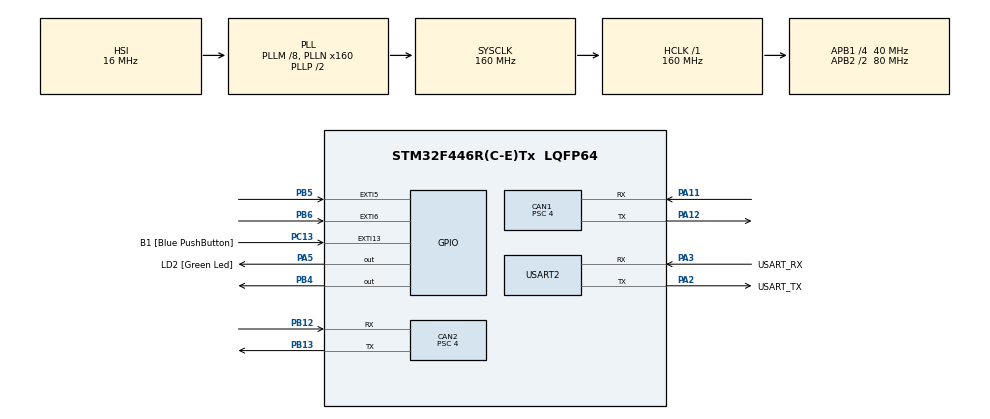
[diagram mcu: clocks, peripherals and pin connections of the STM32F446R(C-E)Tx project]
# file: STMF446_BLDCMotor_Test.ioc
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CAN1.BS1=CAN_BS1_7TQ
CAN1.BS2=CAN_BS2_2TQ
CAN1.CalculateBaudRate=1000000
CAN1.CalculateTimeBit=1000
CAN1.CalculateTimeQuantum=100.0
CAN1.Prescaler=4
CAN1.SJW=CAN_SJW_2TQ
CAN2.BS1=CAN_BS1_7TQ
CAN2.BS2=CAN_BS2_2TQ
CAN2.CalculateBaudRate=1000000
CAN2.CalculateTimeBit=1000
CAN2.CalculateTimeQuantum=100.0
CAN2.Prescaler=4
CAN2.SJW=CAN_SJW_2TQ
Mcu.Family=STM32F4
Mcu.Name=STM32F446R(C-E)Tx
Mcu.Package=LQFP64
NVIC.CAN1_RX0_IRQn=true\:0\:0\:false\:false\:true\:true\:true\:true
NVIC.CAN1_TX_IRQn=true\:0\:0\:false\:false\:true\:true\:true\:true
NVIC.CAN2_RX0_IRQn=true\:0\:0\:false\:false\:true\:true\:true\:true
NVIC.CAN2_TX_IRQn=true\:0\:0\:false\:false\:true\:true\:true\:true
NVIC.EXTI9_5_IRQn=true\:0\:0\:false\:false\:true\:true\:true\:true
NVIC.PriorityGroup=NVIC_PRIORITYGROUP_4
NVIC.USART2_IRQn=true\:0\:0\:true\:false\:true\:true\:true\:true
PA11.Mode=CAN_Activate
PA11.Signal=CAN1_RX
PA12.GPIO_PuPd=GPIO_PULLUP
PA12.Mode=CAN_Activate
PA12.Signal=CAN1_TX
PA13.GPIO_Label=TMS
PA13.Mode=Serial_Wire
PA13.Signal=SYS_JTMS-SWDIO
PA14.GPIO_Label=TCK
PA14.Mode=Serial_Wire
PA14.Signal=SYS_JTCK-SWCLK
PA2.GPIO_Label=USART_TX
PA2.Mode=Asynchronous
PA2.Signal=USART2_TX
PA3.GPIO_Label=USART_RX
PA3.Mode=Asynchronous
PA3.Signal=USART2_RX
PA5.GPIO_Label=LD2 [Green Led]
PA5.PinState=GPIO_PIN_RESET
PA5.Signal=GPIO_Output
PB12.Mode=CAN_Activate
PB12.Signal=CAN2_RX
PB13.GPIO_PuPd=GPIO_PULLUP
PB13.Mode=CAN_Activate
PB13.Signal=CAN2_TX
PB3.GPIO_Label=SWO
PB3.Signal=SYS_JTDO-SWO
PB4.Signal=GPIO_Output
PB5.GPIO_ModeDefaultEXTI=GPIO_MODE_IT_RISING_FALLING
PB5.Signal=GPXTI5
PB6.GPIO_ModeDefaultEXTI=GPIO_MODE_IT_RISING_FALLING
PB6.Signal=GPXTI6
PC13.GPIO_Label=B1 [Blue PushButton]
PC13.GPIO_ModeDefaultEXTI=GPIO_MODE_IT_FALLING
PC13.Signal=GPXTI13
PC14-OSC32_IN.Mode=LSE-External-Oscillator
PC14-OSC32_IN.Signal=RCC_OSC32_IN
PC15-OSC32_OUT.Mode=LSE-External-Oscillator
PC15-OSC32_OUT.Signal=RCC_OSC32_OUT
PH0-OSC_IN.Mode=HSE-External-Oscillator
PH0-OSC_IN.Signal=RCC_OSC_IN
PH1-OSC_OUT.Mode=HSE-External-Oscillator
PH1-OSC_OUT.Signal=RCC_OSC_OUT
ProjectManager.HeapSize=0x200
ProjectManager.StackSize=0x400
ProjectManager.TargetToolchain=STM32CubeIDE
RCC.48MHZClocksFreq_Value=84000000
RCC.AHBFreq_Value=160000000
RCC.APB1CLKDivider=RCC_HCLK_DIV4
RCC.APB1Freq_Value=40000000
RCC.APB1TimFreq_Value=80000000
RCC.APB2CLKDivider=RCC_HCLK_DIV2
RCC.APB2Freq_Value=80000000
RCC.APB2TimFreq_Value=160000000
RCC.CortexFreq_Value=160000000
RCC.FLatency-AdvancedSettings=FLASH_LATENCY_5
RCC.HCLKFreq_Value=160000000
RCC.HSE_VALUE=8000000
RCC.HSI_VALUE=16000000
RCC.PLLM=8
RCC.PLLN=160
RCC.SYSCLKFreq_VALUE=160000000
RCC.SYSCLKSource=RCC_SYSCLKSOURCE_PLLCLK
RCC.USBFreq_Value=160000000
RCC.VCOOutputFreq_Value=320000000
USART2.VirtualMode=VM_ASYNC
board=NUCLEO-F446RE

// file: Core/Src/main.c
/* USER CODE BEGIN Header */
/**
  ******************************************************************************
  * @file           : main.c
  * @brief          : Main program body
  ******************************************************************************
  * @attention
  *
  * Copyright (c) 2022 STMicroelectronics.
  * All rights reserved.
  *
  * This software is licensed under terms that can be found in the LICENSE file
  * in the root directory of this software component.
  * If no LICENSE file comes with this software, it is provided AS-IS.
  *
  ******************************************************************************
  */
/* USER CODE END Header */
#include "main.h"

/* USER CODE BEGIN Includes */
#include<stdio.h>
#include <math.h>
#include "math_ops.h"
#include "leg_message.h"
/* USER CODE END Includes */

 CAN_HandleTypeDef hcan1;
CAN_HandleTypeDef hcan2;

UART_HandleTypeDef huart2;

/* USER CODE BEGIN PV */
CAN_FilterTypeDef sFilterConfig;
CAN_TxHeaderTypeDef TxHeader;
CAN_RxHeaderTypeDef RxHeader;
uint8_t TxData[20];
uint8_t RxData[20];
uint8_t data[20];
uint32_t TxMailbox;
uint32_t canid;
uint8_t cmd_data = 0x00;
uint8_t home_position_state =0;
uint8_t get_uart_flag = 0;
uint8_t get_can_flag = 0; //canを受信したかどうかのflag
uint8_t nextcan_flag = 0;
uint8_t selectmode_flag = 0;
int BLDCm1_dir=1;
int BLDCm2_dir=-1;
int Writecom=0x00;
int Readcom=0x00;
char RMD_cmd;
float p_getdata=0.0;
float p_getdata_s1=0.0;
float p_getdata_s2=0.0;
float t_position[2];
uint16_t p_getintdata=0;
float l1=250.0;
float l2=350.0;

/* USER CODE END PV */

void SystemClock_Config(void);
static void MX_GPIO_Init(void);
static void MX_USART2_UART_Init(void);
static void MX_CAN2_Init(void);
static void MX_CAN1_Init(void);
/* USER CODE BEGIN PFP */
/// Value Limits ///
 #define P_MIN -12.5f
 #define P_MAX 12.5f
 #define V_MIN -65.0f
 #define V_MAX 65.0f
 #define KP_MIN 0.0f
 #define KP_MAX 500.0f
 #define KD_MIN 0.0f
 #define KD_MAX 5.0f
 #define T_MIN -18.0f
 #define T_MAX 18.0f

 /// Joint Soft Stops ///
 #define A_LIM_P 1.5f
 #define A_LIM_N -1.5f
 #define H_LIM_P 5.0f
 #define H_LIM_N -5.0f
 #define K_LIM_P 0.2f
 #define K_LIM_N 7.7f
 #define KP_SOFTSTOP 100.0f
 #define KD_SOFTSTOP 0.4f;

#define ENABLE_CMD 0xFFFF
#define DISABLE_CMD 0x1F1F
/* USER CODE END PFP */

/* USER CODE BEGIN 0 */
uint8_t uart_data;
char tx_data[]="get_data\r\n";
int flag = 1;
uint8_t buffersize=20;

typedef struct {
	uint16_t rxMsg;
	uint16_t txMsg;
}CANMessage;

void HAL_GPIO_EXTI_Callback(uint16_t GPIO_Pin)
{
	//stepper 0 end stop senssor
	if(GPIO_Pin == GPIO_PIN_6 ){
		if(!HAL_GPIO_ReadPin(GPIOB, GPIO_PIN_6)){	//end stop ONの時フラグを立てる
			home_position_state |= 1;
		}
		if(HAL_GPIO_ReadPin(GPIOB, GPIO_PIN_6)){
			home_position_state &= ~1;
		}
	}
}

void BLDC_FK(float s1,float s2,float* xp,float* yp);
void BLDC_IK(float x,float y,float* s1p,float* s2p);
void Zero(){
	data[0] = 0xFF;
    data[1] = 0xFF;
    data[2] = 0xFF;
    data[3] = 0xFF;
    data[4] = 0xFF;
    data[5] = 0xFF;
    data[6] = 0xFF;
    data[7] = 0xFE;
    //WriteAll();
    }

void EnterMotorMode(){
	data[0] = 0xFF;
    data[1] = 0xFF;
    data[2] = 0xFF;
    data[3] = 0xFF;
    data[4] = 0xFF;
    data[5] = 0xFF;
    data[6] = 0xFF;
    data[7] = 0xFC;
    //WriteAll();
    }

void ExitMotorMode(){
	data[0] = 0xFF;
	data[1] = 0xFF;
	data[2] = 0xFF;
	data[3] = 0xFF;
	data[4] = 0xFF;
	data[5] = 0xFF;
	data[6] = 0xFF;
	data[7] = 0xFD;
    //WriteAll();
    }

void pack_cmd(float _p_des, float _v_des, float _kp, float _kd, float _t_ff){
	/// limit data to be within bounds ///
	float p_des = fminf(fmaxf(P_MIN, _p_des), P_MAX);
	float v_des = fminf(fmaxf(V_MIN, _v_des), V_MAX);
	float kp = fminf(fmaxf(KP_MIN, _kp), KP_MAX);
	float kd = fminf(fmaxf(KD_MIN, _kd), KD_MAX);
	float t_ff = fminf(fmaxf(T_MIN, _t_ff), T_MAX);
	/// convert floats to unsigned ints ///
	uint16_t p_int = float_to_uint(p_des, P_MIN, P_MAX, 16);
	uint16_t v_int = float_to_uint(v_des, V_MIN, V_MAX, 12);
	uint16_t kp_int = float_to_uint(kp, KP_MIN, KP_MAX, 12);
	uint16_t kd_int = float_to_uint(kd, KD_MIN, KD_MAX, 12);
	uint16_t t_int = float_to_uint(t_ff, T_MIN, T_MAX, 12);
	/// pack ints into the can buffer ///
	data[0] = p_int>>8;
	data[1] = p_int&0xFF;
	data[2] = v_int>>4;
	data[3] = ((v_int&0xF)<<4)|(kp_int>>8);
	data[4] = kp_int&0xFF;
	data[5] = kd_int>>4;
	data[6] = ((kd_int&0xF)<<4)|(t_int>>8);
	data[7] = t_int&0xFF;
}
void BLDC_CANTx(){
	TxHeader.StdId=canid;
	TxHeader.IDE = CAN_ID_STD;
	TxHeader.DLC = 0x08;
	TxHeader.RTR = CAN_RTR_DATA;
	TxHeader.TransmitGlobalTime = DISABLE;
//	HAL_CAN_AddTxMessage(&hcan1,&TxHeader,data,&TxMailbox);
//	HAL_Delay(10);

//	int i = 0;
	int count=0;
	if(0 < HAL_CAN_GetTxMailboxesFreeLevel(&hcan1) ){
		HAL_CAN_AddTxMessage(&hcan1,&TxHeader,data,&TxMailbox);
		HAL_Delay(10);
		while(!nextcan_flag){
			HAL_CAN_AddTxMessage(&hcan1,&TxHeader,data,&TxMailbox);
			HAL_Delay(10);
			count++;
			if(count==10){
				nextcan_flag=1;
				get_can_flag=1;
				HAL_CAN_Stop (&hcan1);
				//HAL_CAN_AbortTxRequest(&hcan1,TxMailbox);
				HAL_CAN_Start(&hcan1);
			}
		}
		nextcan_flag=0;
		count=0;
	}else{
		nextcan_flag=0;
		get_can_flag=1;
	}
}

void unpack_reply(){
    /// unpack ints from can buffer ///
    uint16_t id = data[0];
    uint16_t p_int = (data[1]<<8)|data[2];
    uint16_t v_int = (data[3]<<4)|(data[4]>>4);
    uint16_t i_int = ((data[4]&0xF)<<8)|data[5];

    p_getintdata=p_int;
    /// convert uints to floats ///
    float p = uint_to_float(p_int, P_MIN, P_MAX, 16);
    float v = uint_to_float(v_int, V_MIN, V_MAX, 12);
    float t = uint_to_float(i_int, -T_MAX, T_MAX, 12);
    p_getdata=p;

    if(id==0x01){
        p_getdata_s1=(-p_getdata);
    }else if(id==0x02)
    {
        p_getdata_s2=(-(p_getdata+M_PI));
    }
}

void sent_position(){
	float current_coordinate[2];
	int16_t x1;
	int16_t y1;
	int16_t x2;
	int16_t y2;
	BLDC_FK(p_getdata_s1,p_getdata_s2,&current_coordinate[0],&current_coordinate[1]);

	x1=round(l1*cos(p_getdata_s1));
	y1=round(l1*sin(p_getdata_s1));
	x2=round(current_coordinate[0]);	//手先座標系から機械座標系への変換
	y2=round(current_coordinate[1]);
	TxData[0]=0xAA;
	TxData[1]=x1&0xFF;
	TxData[2]=(x1>>8)&0xFF;
	TxData[3]=y1&0xFF;
	TxData[4]=(y1>>8)&0xFF;
	TxData[5]=x2&0xFF;
	TxData[6]=(x2>>8)&0xFF;
	TxData[7]=y2&0xFF;
	TxData[8]=(y2>>8)&0xFF;
	TxData[19]=0xAA;
	HAL_UART_Transmit(&huart2,TxData,sizeof(TxData),100);
}

void BLDC_MotorRotate(){
	float count_rad=0.05;
	float set_Kp=40.0;
	float setMax_kp=200.0;
	uint8_t count_end=0;
	uint32_t canid_select_far;
	uint32_t canid_select_near;
	float far_dis_dir=0;
	float near_dis_dir=0;
	float running_pos[2];
	float far_dis;
	float near_dis;
	float i=0.0;
	float m1_startpos;
	float m2_startpos;
	float m1_target_pos;
	float m2_target_pos;
	float far_getpos;
	float near_getpos;
	canid=0x01;
	pack_cmd(0.0, 0.0, 0.0, 3.0, 0.0);	//現在の場所の所得
	BLDC_CANTx();
	unpack_reply();
	m1_startpos=p_getdata;
	m1_target_pos=-t_position[0];
	running_pos[0]=fabsf(m1_target_pos-m1_startpos);	//目標地点ー現在の地点＝移動距離
	canid=0x02;
	pack_cmd(0.0, 0.0, 0.0, 4.0, 0.0);	//現在の場所の所得
	BLDC_CANTx();
	unpack_reply();
	m2_target_pos=(-t_position[1]+M_PI);
	m2_startpos=p_getdata;
	running_pos[1]=fabsf(m2_target_pos-m2_startpos);

	if(running_pos[0]>running_pos[1]){
		far_dis=running_pos[0];
		near_dis=running_pos[1];
		canid_select_far=0x01;
		canid_select_near=0x02;
		far_getpos=m1_startpos;
		near_getpos=m2_startpos;
		far_dis_dir=((m1_target_pos-m1_startpos)>=0)?1:-1;
		near_dis_dir=((m2_target_pos-(m2_startpos))>=0)?1:-1;

	}else{
		far_dis=running_pos[1];
		near_dis=running_pos[0];
		canid_select_far=0x02;
		canid_select_near=0x01;
		far_getpos=m2_startpos;
		near_getpos=m1_startpos;
		far_dis_dir=((m2_target_pos-m2_startpos)>=0)?1:-1;
		near_dis_dir=((m1_target_pos-m1_startpos)>=0)?1:-1;
	}

	if (far_dis>count_rad){
		while(!count_end){
			i+=(far_dis_dir*count_rad);
			if(fabsf(i)<far_dis){
				canid=canid_select_far;
				pack_cmd(far_getpos+i, 0.0, set_Kp, 2.0, 0.0);	//現在の場所の所得
				BLDC_CANTx();
				unpack_reply();
				HAL_Delay(20);
				canid=canid_select_near;
				pack_cmd(near_getpos+fabsf(i)*(near_dis/far_dis)*near_dis_dir, 0.0, set_Kp, 2.0, 0.0);	//現在の場所の所得
				BLDC_CANTx();
				unpack_reply();
				sent_position();
				HAL_Delay(20);
			}
			else{
				count_end=1;
			}
		}
	}
	for(int i=1;i<=50;i++){
		if(set_Kp+i*10<=setMax_kp){
			canid=0x01;
			pack_cmd(m1_target_pos, 0.0, set_Kp+i*10, 3.0, 0.0);	//現在の場所の所得
			BLDC_CANTx();
			unpack_reply();
			HAL_Delay(20);
			canid=0x02;
			pack_cmd(m2_target_pos, 0.0, set_Kp+i*10, 3.0, 0.0);	//現在の場所の所得
			BLDC_CANTx();
			unpack_reply();
			HAL_Delay(20);
		}else{
			i=50;
		}
	}
	sent_position();

}
void BLDC_M1Rotate(){
	float m1_startpos;
	float m1_target_pos;
	float i=0.0;
	float m1_dis;
	float set_Kp=40.0;
	float setMax_kp=200.0;
	float count_rad=0.05;
	int m1_dir;
	int count=10;
	uint8_t count_end=0;
	canid=0x02;
	pack_cmd(0.0, 0.0, 0.0, 4.0, 0.0);	//現在の場所の所得
	BLDC_CANTx();
	unpack_reply();
	pack_cmd(p_getdata, 0.0, 200.0, 4.0, 0.0);	//現在の場所の所得
	BLDC_CANTx();
	unpack_reply();
	canid=0x01;
	pack_cmd(0.0, 0.0, 0.0, 4.0, 0.0);	//現在の場所の所得
	BLDC_CANTx();
	unpack_reply();

	m1_startpos=p_getdata;
	m1_target_pos=-t_position[0];
	m1_dis=fabsf(m1_target_pos-m1_startpos);	//目標地点ー現在の地点＝移動距離
	m1_dir=((m1_target_pos-m1_startpos)>=0)?1:-1;
	i=count_rad;
	if(count_rad<m1_dis){
		while(!count_end){
			i+=(m1_dir*count_rad);
			if(fabsf(i)<m1_dis){
				canid=0x01;
				pack_cmd(m1_startpos+i, 0.0, set_Kp, 2.0, 0.0);	//現在の場所の所得
				BLDC_CANTx();
				sent_position();
				HAL_Delay(40);
			}else{
				count_end=1;
			}
		}
	}
	for(int i=1;i<=50;i++){
			if(set_Kp+i*10<=setMax_kp){
				canid=0x01;
				pack_cmd(m1_target_pos, 0.0, set_Kp+i*10, 3.0, 0.0);	//現在の場所の所得
				BLDC_CANTx();
				HAL_Delay(20);
			}else{
				i=50;
			}
		}
	sent_position();
}
void BLDC_M2Rotate(){
	float m2_startpos;
	float m2_target_pos;
	float i=0.0;
	float m2_dis;
	float set_Kp=40.0;
	float setMax_kp=200.0;
	float count_rad=0.05;
	int m2_dir;
	uint8_t count_end=0;
	canid=0x01;
	pack_cmd(0.0, 0.0, 0.0, 4.0, 0.0);	//現在の場所の所得
	BLDC_CANTx();
	unpack_reply();
	pack_cmd(p_getdata, 0.0, 200.0, 4.0, 0.0);	//現在の場所の所得
	BLDC_CANTx();
	unpack_reply();
	canid=0x02;
	pack_cmd(0.0, 0.0, 0.0, 4.0, 0.0);	//現在の場所の所得
	BLDC_CANTx();
	unpack_reply();
	m2_startpos=p_getdata;
	m2_target_pos=(-t_position[1]+M_PI);
	m2_dis=fabsf((m2_target_pos-m2_startpos));
	m2_dir=((m2_target_pos-m2_startpos)>=0)?1:-1;

	i=count_rad;
	if(count_rad<m2_dis){
		while(!count_end){
			i+=(m2_dir*count_rad);
			if(fabsf(i)<m2_dis){
				canid=0x02;
				pack_cmd(m2_startpos+i, 0.0, set_Kp, 2.0, 0.0);	//現在の場所の所得
				BLDC_CANTx();
				p_getdata_s2=p_getdata;
				sent_position();
				HAL_Delay(40);
			}else{
				count_end=1;
			}
		}
	}

	for(int i=1;i<=50;i++){
			if(set_Kp+i*10<=setMax_kp){
				canid=0x02;
				pack_cmd(m2_target_pos, 0.0, set_Kp+i*10, 3.0, 0.0);	//現在の場所の所得
				BLDC_CANTx();
				HAL_Delay(20);
			}else{
				i=50;
			}
		}
	sent_position();
	count_end=0;
}

void command_judgment(uint8_t *ModeSelect){
	int modeflag_count=0;
	for(uint8_t i=0; i<buffersize ;i++){
		ModeSelect[i]= ~(ModeSelect[i]);
		if(ModeSelect[i]==0){
			modeflag_count++;
			}
		}
	if(modeflag_count<(buffersize-3)){	//動作モード
		selectmode_flag=0;
	}
	else if(modeflag_count==(buffersize-3)){	//コマンドモード,9byte ModeSelectが0だったら
		selectmode_flag=1;
	}
}

/* USER CODE END 0 */

int main(void)
{

  /* MCU Configuration--------------------------------------------------------*/

  /* Reset of all peripherals, Initializes the Flash interface and the Systick. */
  HAL_Init();

  /* Configure the system clock */
  SystemClock_Config();

  /* Initialize all configured peripherals */
  MX_GPIO_Init();
  MX_USART2_UART_Init();
  MX_CAN2_Init();
  MX_CAN1_Init();
  /* USER CODE BEGIN 2 */
  uint32_t Init_flag=0;
  if(HAL_GPIO_ReadPin(GPIOB, GPIO_PIN_5)!=1){	//リミットスイッチON→待機状態
	  home_position_state=1;
  }else{
	  home_position_state=0;
  }
sFilterConfig.FilterBank = 0;
sFilterConfig.FilterMode = CAN_FILTERMODE_IDMASK;
sFilterConfig.FilterScale = CAN_FILTERSCALE_32BIT;
sFilterConfig.FilterIdHigh = 0x0000;
sFilterConfig.FilterIdLow = 0x0000;
sFilterConfig.FilterMaskIdHigh = 0x0000;
sFilterConfig.FilterMaskIdLow = 0x0000;
sFilterConfig.FilterFIFOAssignment = CAN_RX_FIFO0;
//	sFilterConfig.FilterFIFOAssignment =CAN_FILTER_FIFO0;
sFilterConfig.FilterActivation=ENABLE;
sFilterConfig.SlaveStartFilterBank=14;

if(HAL_CAN_ConfigFilter(&hcan1,&sFilterConfig) != HAL_OK)
{
	Error_Handler();
}
if(HAL_CAN_Start(&hcan1)!=HAL_OK)
{
	Error_Handler();
}

if(HAL_CAN_ActivateNotification(&hcan1,CAN_IT_RX_FIFO0_MSG_PENDING | CAN_IT_TX_MAILBOX_EMPTY) != HAL_OK)
{
	Error_Handler();
}
uint8_t judgment[20];
uint8_t modeflag=0;
uint8_t checkdata[20];
uint8_t mode_select;
int16_t receive_xy_coordinate[2];
int16_t sent_data[20];

char Mode_Type[4];
float rad_data[2];
float machine_coordinate_data[2];
float machine_origin_rad[20];
float machine_origin_coordinate[20];
int receive_int_coordinate[2];
machine_origin_coordinate[0]=0.0;
machine_origin_coordinate[1]=400.0;
BLDC_IK(machine_origin_coordinate[0],machine_origin_coordinate[1],&rad_data[0],&rad_data[1]);
machine_origin_rad[0]=rad_data[0];
machine_origin_rad[1]=rad_data[1];

//RxData[0]=0;

  /* USER CODE END 2 */

  /* Infinite loop */
  /* USER CODE BEGIN WHILE */
  while (1)
  {
	  home_position_state=0;

	  get_uart_flag=0;
	  HAL_UART_Receive_IT(&huart2, (uint8_t *)RxData, buffersize);
//	  HAL_UART_Transmit(&huart2, (uint8_t *)RxData, buffersize,300);
	  //受信するまで待つ
	  while(!get_uart_flag){}
	  get_can_flag=1;//canデータ受信用のフラグを0に
	  for(int i=0;i<buffersize;i++){
		  judgment[i]=RxData[i];
	  }
	  if(RxData[0]==0xAA&&RxData[(buffersize-1)]==0xAA){
		  command_judgment(judgment);
	  }else{
		  selectmode_flag=2;
		  TxData[0]=0xAA;
		  TxData[buffersize-1]=0xAA;
		  for(int i=1;i<buffersize-1;i++){
			  TxData[i]=0xFF;
		  	  }
		  HAL_UART_Transmit(&huart2,TxData,sizeof(TxData),100);
	  }

	  if(selectmode_flag==1){
		  mode_select=RxData[1];	//モード変更
		  }
	  else if(selectmode_flag==0){

		  receive_xy_coordinate[0]=RxData[5]&0xFF;	//受け取った座標データをビットシフトしてx,yの値に直す
		  receive_xy_coordinate[0]+= (RxData[6]&0xFF)<<8;
		  receive_xy_coordinate[1]=RxData[7]&0xFF;
		  receive_xy_coordinate[1]+= (RxData[8]&0xFF)<<8;
//		  HAL_UART_Transmit_IT(&huart2,RxData,sizeof(RxData));
		  machine_coordinate_data[0]=(float)receive_xy_coordinate[0];
		  machine_coordinate_data[1]=(float)receive_xy_coordinate[1];
		  BLDC_IK(machine_coordinate_data[0],machine_coordinate_data[1],&rad_data[0],&rad_data[1]);
	  }
	  if(home_position_state==1){	//初期位置モード
		  switch(mode_select){
		  case 0x0A:
			  canid=0x01;
			  EnterMotorMode();
			  BLDC_CANTx();
			  canid=0x02;
			  EnterMotorMode();
			  BLDC_CANTx();
			  break;
//		  case 0x1A:
//			  t_position[0] = machine_origin_rad[0];
//			  t_position[1] = machine_origin_rad[1];
//			  BLDC_MotorRotate();
//			  RxData[0]=0;
//			  break;
//		  case 0x2A:
//			  if(selectmode_flag==0){	//初期位置の変更
//				  receive_xy_coordinate[0] = RxData[0]&0xFF;
//				  receive_xy_coordinate[0] += (RxData[1]&0xFF)<<8;
//				  receive_xy_coordinate[1] = RxData[2]&0xFF;
//				  receive_xy_coordinate[1] += (RxData[3]&0xFF)<<8;
//				  machine_origin_coordinate[0]=(float)receive_xy_coordinate[0];
//				  machine_origin_coordinate[1]=(float)receive_xy_coordinate[1];
//				  BLDC_IK(machine_origin_coordinate[0],machine_origin_coordinate[1],&rad_data[0],&rad_data[1]);
//				  machine_origin_rad[0]=rad_data[0];
//				  machine_origin_rad[1]=rad_data[1];
//			  }
//			  break;
		  default:
			  get_can_flag=1;
			  break;
		  }
	  }
	  else if(home_position_state==0){
		  switch(mode_select){	//
		  case 0x01:	//モーターON
			  canid=0x01;
			  EnterMotorMode();
			  BLDC_CANTx();
			  canid=0x02;
			  EnterMotorMode();
			  BLDC_CANTx();

			  break;
		  case 0x02:	//モーターOFF
			  canid=0x01;
			  ExitMotorMode();
			  BLDC_CANTx();
			  canid=0x02;
			  ExitMotorMode();
			  BLDC_CANTx();
			  break;
		  case 0x03:	//動作モード
			  if(selectmode_flag==0){
				  t_position[0] = rad_data[0];
				  t_position[1] = rad_data[1];
				  BLDC_MotorRotate();
			  }
			  break;
		  case 0x04:
			  t_position[0] = 0;
			  t_position[1] = 0;
			  BLDC_M2Rotate();
			  BLDC_M1Rotate();
			  t_position[0] = machine_origin_rad[0];	//スタンバイ状態
			  t_position[1] = machine_origin_rad[1];
			  BLDC_MotorRotate();
			  break;
		  case 0x05:	//初期状態へ戻る
		 	  t_position[0] = 0;
		 	  t_position[1] = M_PI;
		 	  BLDC_MotorRotate();
		 	  break;
		  case 0x06:	//腕伸ばした状態
			  t_position[0] = 0;
			  t_position[1] = 0;
			  BLDC_MotorRotate();
			  break;
		  case 0x07:	//ティーチングモード開始
			  canid=0x01;
			  pack_cmd(0.0, 0.0, 0.0, 1.0, 0.0);
			  BLDC_CANTx();
			  canid=0x02;
			  pack_cmd(0.0, 0.0, 0.0, 1.0, 0.0);
			  BLDC_CANTx();
			  break;
		  case 0x08:	//ティーチング決定
			  canid=0x01;
			  pack_cmd(0.0, 0.0, 0.0, 4.0, 0.0);
			  BLDC_CANTx();
			  unpack_reply();
			  pack_cmd(p_getdata, 0.0, 100.0, 3.0, 0.0);
			  BLDC_CANTx();
			  unpack_reply();
			  rad_data[0]=p_getdata;
			  canid=0x02;
			  pack_cmd(0.0, 0.0, 0.0, 4.0, 0.0);
			  BLDC_CANTx();
			  unpack_reply();
			  pack_cmd(p_getdata, 0.0, 100.0, 3.0, 0.0);
			  BLDC_CANTx();
			  unpack_reply();
			  rad_data[1]=p_getdata;
			  BLDC_FK(-rad_data[0],-(rad_data[1]+M_PI),&machine_coordinate_data[0],&machine_coordinate_data[1]);
			  sent_data[0]=round(machine_coordinate_data[0]);	//手先座標系から機械座標系への変換
			  sent_data[1]=round(machine_coordinate_data[1]);
			  TxData[0]=0xAA;
			  TxData[5]=sent_data[0]&0xFF;
			  TxData[6]=(sent_data[0]>>8)&0xFF;
		   	  TxData[7]=sent_data[1]&0xFF;
			  TxData[8]=(sent_data[1]>>8)&0xFF;
			  TxData[19]=0xAA;
			  HAL_UART_Transmit(&huart2,TxData,sizeof(TxData),100);
			  break;

		  case 0x90:
			  canid=0x01;
			  pack_cmd(0.0, 0.0, 0.0, 3.0, 0.0);
			  BLDC_CANTx();
			  unpack_reply();
			  rad_data[0]=p_getdata;
			  canid=0x02;
			  pack_cmd(0.0, 0.0, 0.0, 3.0, 0.0);
			  BLDC_CANTx();
			  unpack_reply();
			  rad_data[1]=p_getdata;

			  canid=0x01;
			  pack_cmd(rad_data[0]+0.1, 0.0, 50.0, 2.0, 0.0);
			  BLDC_CANTx();
			  unpack_reply();
			  rad_data[0]=p_getdata;
			  canid=0x02;
			  pack_cmd(rad_data[1]+0.1, 0.0, 50.0, 2.0, 0.0);
			  BLDC_CANTx();
			  unpack_reply();
			  rad_data[1]=p_getdata;

			  BLDC_FK(rad_data[0],rad_data[1],&machine_coordinate_data[0],&machine_coordinate_data[1]);
			  sent_data[0]=round(machine_coordinate_data[0]);	//手先座標系から機械座標系への変換
			  sent_data[1]=round(machine_coordinate_data[1]);
			  TxData[0]=0xAA;
			  TxData[5]=sent_data[0]&0xFF;
			  TxData[6]=(sent_data[0]>>8)&0xFF;
			  TxData[7]=sent_data[1]&0xFF;
			  TxData[8]=(sent_data[1]>>8)&0xFF;
			  TxData[19]=0xAA;
			  HAL_UART_Transmit_IT(&huart2,TxData,sizeof(TxData));

			  break;
		  default:
			  get_can_flag=1;
			  break;
		  }

		  get_uart_flag=0;
		  while(!get_can_flag){}
	  }

	  mode_select=RxData[1];	//モード変更
	  TxData[0]=0xAA;
	  TxData[1]=mode_select;
	  TxData[buffersize-1]=0xAA;
	  for(int i=2;i<buffersize-1;i++){
		  TxData[i]=0xFF;
	  }
	  HAL_UART_Transmit(&huart2,TxData,sizeof(TxData),100);
	  for(int i=0;i<buffersize;i++){
	  		  RxData[i]=0;
	  		  TxData[i]=0;
	  	  }
    /* USER CODE END WHILE */

  }
}

void SystemClock_Config(void)
{
  RCC_OscInitTypeDef RCC_OscInitStruct = {0};
  RCC_ClkInitTypeDef RCC_ClkInitStruct = {0};

  /** Configure the main internal regulator output voltage
  */
  __HAL_RCC_PWR_CLK_ENABLE();
  __HAL_PWR_VOLTAGESCALING_CONFIG(PWR_REGULATOR_VOLTAGE_SCALE1);

  /** Initializes the RCC Oscillators according to the specified parameters
  * in the RCC_OscInitTypeDef structure.
  */
  RCC_OscInitStruct.OscillatorType = RCC_OSCILLATORTYPE_HSI;
  RCC_OscInitStruct.HSIState = RCC_HSI_ON;
  RCC_OscInitStruct.HSICalibrationValue = RCC_HSICALIBRATION_DEFAULT;
  RCC_OscInitStruct.PLL.PLLState = RCC_PLL_ON;
  RCC_OscInitStruct.PLL.PLLSource = RCC_PLLSOURCE_HSI;
  RCC_OscInitStruct.PLL.PLLM = 8;
  RCC_OscInitStruct.PLL.PLLN = 160;
  RCC_OscInitStruct.PLL.PLLP = RCC_PLLP_DIV2;
  RCC_OscInitStruct.PLL.PLLQ = 2;
  RCC_OscInitStruct.PLL.PLLR = 2;
  if (HAL_RCC_OscConfig(&RCC_OscInitStruct) != HAL_OK)
  {
    Error_Handler();
  }

  /** Initializes the CPU, AHB and APB buses clocks
  */
  RCC_ClkInitStruct.ClockType = RCC_CLOCKTYPE_HCLK|RCC_CLOCKTYPE_SYSCLK
                              |RCC_CLOCKTYPE_PCLK1|RCC_CLOCKTYPE_PCLK2;
  RCC_ClkInitStruct.SYSCLKSource = RCC_SYSCLKSOURCE_PLLCLK;
  RCC_ClkInitStruct.AHBCLKDivider = RCC_SYSCLK_DIV1;
  RCC_ClkInitStruct.APB1CLKDivider = RCC_HCLK_DIV4;
  RCC_ClkInitStruct.APB2CLKDivider = RCC_HCLK_DIV2;

  if (HAL_RCC_ClockConfig(&RCC_ClkInitStruct, FLASH_LATENCY_5) != HAL_OK)
  {
    Error_Handler();
  }
}

static void MX_CAN1_Init(void)
{

  hcan1.Instance = CAN1;
  hcan1.Init.Prescaler = 4;
  hcan1.Init.Mode = CAN_MODE_NORMAL;
  hcan1.Init.SyncJumpWidth = CAN_SJW_2TQ;
  hcan1.Init.TimeSeg1 = CAN_BS1_7TQ;
  hcan1.Init.TimeSeg2 = CAN_BS2_2TQ;
  hcan1.Init.TimeTriggeredMode = DISABLE;
  hcan1.Init.AutoBusOff = DISABLE;
  hcan1.Init.AutoWakeUp = DISABLE;
  hcan1.Init.AutoRetransmission = DISABLE;
  hcan1.Init.ReceiveFifoLocked = DISABLE;
  hcan1.Init.TransmitFifoPriority = DISABLE;
  if (HAL_CAN_Init(&hcan1) != HAL_OK)
  {
    Error_Handler();
  }

}

static void MX_CAN2_Init(void)
{

  hcan2.Instance = CAN2;
  hcan2.Init.Prescaler = 4;
  hcan2.Init.Mode = CAN_MODE_NORMAL;
  hcan2.Init.SyncJumpWidth = CAN_SJW_2TQ;
  hcan2.Init.TimeSeg1 = CAN_BS1_7TQ;
  hcan2.Init.TimeSeg2 = CAN_BS2_2TQ;
  hcan2.Init.TimeTriggeredMode = DISABLE;
  hcan2.Init.AutoBusOff = DISABLE;
  hcan2.Init.AutoWakeUp = DISABLE;
  hcan2.Init.AutoRetransmission = DISABLE;
  hcan2.Init.ReceiveFifoLocked = DISABLE;
  hcan2.Init.TransmitFifoPriority = DISABLE;
  if (HAL_CAN_Init(&hcan2) != HAL_OK)
  {
    Error_Handler();
  }

}

static void MX_USART2_UART_Init(void)
{

  huart2.Instance = USART2;
  huart2.Init.BaudRate = 115200;
  huart2.Init.WordLength = UART_WORDLENGTH_8B;
  huart2.Init.StopBits = UART_STOPBITS_1;
  huart2.Init.Parity = UART_PARITY_NONE;
  huart2.Init.Mode = UART_MODE_TX_RX;
  huart2.Init.HwFlowCtl = UART_HWCONTROL_NONE;
  huart2.Init.OverSampling = UART_OVERSAMPLING_16;
  if (HAL_UART_Init(&huart2) != HAL_OK)
  {
    Error_Handler();
  }

}

static void MX_GPIO_Init(void)
{
  GPIO_InitTypeDef GPIO_InitStruct = {0};

  /* GPIO Ports Clock Enable */
  __HAL_RCC_GPIOC_CLK_ENABLE();
  __HAL_RCC_GPIOH_CLK_ENABLE();
  __HAL_RCC_GPIOA_CLK_ENABLE();
  __HAL_RCC_GPIOB_CLK_ENABLE();

  /*Configure GPIO pin Output Level */
  HAL_GPIO_WritePin(LD2_GPIO_Port, LD2_Pin, GPIO_PIN_RESET);

  /*Configure GPIO pin Output Level */
  HAL_GPIO_WritePin(GPIOB, GPIO_PIN_4, GPIO_PIN_RESET);

  /*Configure GPIO pin : B1_Pin */
  GPIO_InitStruct.Pin = B1_Pin;
  GPIO_InitStruct.Mode = GPIO_MODE_IT_FALLING;
  GPIO_InitStruct.Pull = GPIO_NOPULL;
  HAL_GPIO_Init(B1_GPIO_Port, &GPIO_InitStruct);

  /*Configure GPIO pin : LD2_Pin */
  GPIO_InitStruct.Pin = LD2_Pin;
  GPIO_InitStruct.Mode = GPIO_MODE_OUTPUT_PP;
  GPIO_InitStruct.Pull = GPIO_NOPULL;
  GPIO_InitStruct.Speed = GPIO_SPEED_FREQ_LOW;
  HAL_GPIO_Init(LD2_GPIO_Port, &GPIO_InitStruct);

  /*Configure GPIO pin : PB4 */
  GPIO_InitStruct.Pin = GPIO_PIN_4;
  GPIO_InitStruct.Mode = GPIO_MODE_OUTPUT_PP;
  GPIO_InitStruct.Pull = GPIO_NOPULL;
  GPIO_InitStruct.Speed = GPIO_SPEED_FREQ_LOW;
  HAL_GPIO_Init(GPIOB, &GPIO_InitStruct);

  /*Configure GPIO pins : PB5 PB6 */
  GPIO_InitStruct.Pin = GPIO_PIN_5|GPIO_PIN_6;
  GPIO_InitStruct.Mode = GPIO_MODE_IT_RISING_FALLING;
  GPIO_InitStruct.Pull = GPIO_NOPULL;
  HAL_GPIO_Init(GPIOB, &GPIO_InitStruct);

  /* EXTI interrupt init*/
  HAL_NVIC_SetPriority(EXTI9_5_IRQn, 0, 0);
  HAL_NVIC_EnableIRQ(EXTI9_5_IRQn);

}

/* USER CODE BEGIN 4 */
void BLDC_FK(float s1,float s2,float* xp,float* yp){
	float x=0.0;
	float y=0.0;
	x=l1*cos(s1)+l2*cos(s1+s2);
	y=l1*sin(s1)+l2*sin(s1+s2);
	printf("s1=%f\r\n",s1);
	printf("s2=%f\r\n",s2);
	printf("x=%f\r\n",x);
	printf("y=%f\r\n",y);
	*xp=x;
	*yp=y;
}
void BLDC_IK(float x,float y,float* s1p,float* s2p){
	float s1=0.0;
	float s2=0.0;
	s2=-acos((x*x+y*y-l1*l1-l2*l2)/(2*l1*l2));
	s1=atan2((-l2*sin(s2)*x+(l1+l2*cos(s2))*y),((l1+l2*cos(s2))*x+l2*sin(s2)*y));
	printf("s1=%f\r\n",s1);
	printf("s2=%f\r\n",s2);
	printf("x=%f\r\n",x);
	printf("y=%f\r\n",y);
	*s1p=s1;
	*s2p=s2;
}
//int _write(int file, char *ptr, int len)	//printfに必要
//{
//  HAL_UART_Transmit(&huart2,(uint8_t *)ptr,len,10);
//  return len;
//}

void HAL_UART_RxCpltCallback(UART_HandleTypeDef*UartHandle)
{
	get_uart_flag=1;
//	HAL_UART_Transmit(&huart2, (uint8_t *)RxData, buffersize,10);
	HAL_UART_Receive_IT(&huart2, (uint8_t *)RxData, buffersize);
	if(RxData[0]==0xAA&&RxData[1]==0xCC&&RxData[(buffersize-1)]==0xAA){
		HAL_UART_Transmit_IT(&huart2, (uint8_t *)RxData, buffersize);
	}

}
void HAL_CAN_TxMailbox0CompleteCallback(CAN_HandleTypeDef *hcan)
{
//	  HAL_GPIO_WritePin(GPIOA,GPIO_PIN_5,1);
	  nextcan_flag=1;
}

void HAL_CAN_RxFifo0MsgPendingCallback(CAN_HandleTypeDef *hcan)
{
	get_can_flag=1;
//	printf("RxCan\r\n");
	HAL_CAN_GetRxMessage(&hcan1,CAN_RX_FIFO0, &RxHeader,data);

}

/* USER CODE END 4 */

void Error_Handler(void)
{
  __disable_irq();
  while (1)
  {
  }
}
